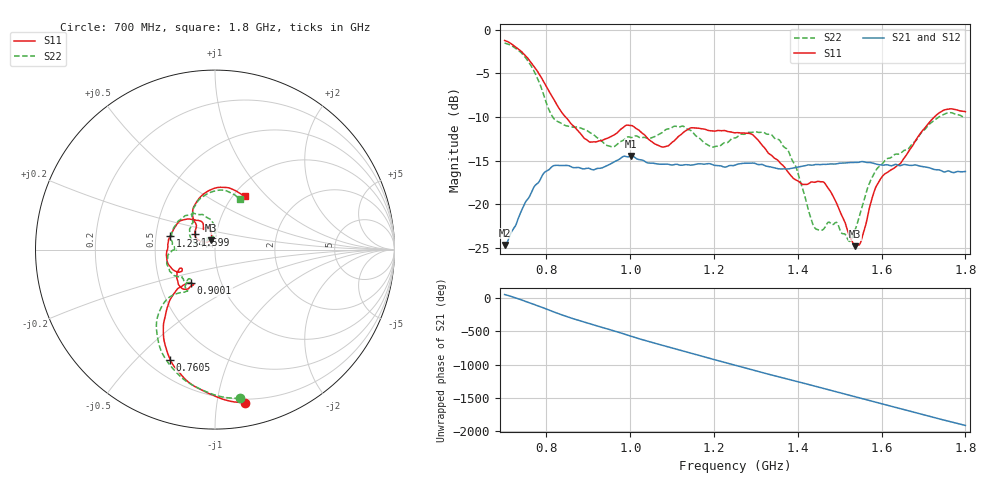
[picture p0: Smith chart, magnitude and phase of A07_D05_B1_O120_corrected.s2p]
! Created with skrf 1.9.0 (http://scikit-rf.org).
# Hz S RI R 50.0
!freq ReS11 ImS11 ReS21 ImS21 ReS12 ImS12 ReS22 ImS22
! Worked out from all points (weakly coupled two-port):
!   1601 points, 700 MHz to 1.8 GHz, reference 50 ohm
!   highest |S21| = -14.49 dB at 1.002 GHz (marker M1); lowest = -24.7 dB at 700 MHz (marker M2)
!   lowest |S11| = -24.8 dB at 1.537 GHz (marker M3), VSWR 1.12, Z = 47.3 + j4.9 ohm
!   |S11| at or under -10 dB: 845.6 MHz to 1.726 GHz (880.4 MHz wide, 68.5 % of centre)
!   |S22| runs from -24.3 to -1.5 dB; largest |S21 - S12| = 0.0036
!   S11 on the Smith chart (normalised r, x): 700 MHz: 0.17, -1.20; 760.5 MHz: 0.29, -0.63; 900.1 MHz: 0.72, -0.28; 1.234 GHz: 0.60, +0.10; 1.599 GHz: 0.79, +0.14; 1.8 GHz: 1.13, +0.76
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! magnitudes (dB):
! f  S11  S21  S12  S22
! 700 MHz  -1.2  -24.7  -24.5  -1.5
! 760.5 MHz  -3.6  -19.0  -18.9  -3.9
! 817.6 MHz  -8.0  -15.6  -15.7  -10.2
! 883.6 MHz  -12.0  -15.9  -15.8  -11.3
! 900.1 MHz  -12.8  -15.9  -15.9  -11.7
! 955.1 MHz  -12.2  -15.3  -15.3  -13.4
! 1.002 GHz  -11.0  -14.5  -14.6  -12.4
! 1.067 GHz  -13.3  -15.4  -15.4  -12.0
! 1.145 GHz  -11.2  -15.5  -15.5  -11.6
! 1.234 GHz  -11.7  -15.6  -15.7  -12.9
! 1.25 GHz  -11.8  -15.5  -15.5  -12.4
! 1.357 GHz  -15.2  -16.0  -15.9  -12.7
! 1.395 GHz  -17.2  -15.8  -15.8  -15.7
! 1.434 GHz  -17.5  -15.5  -15.5  -22.0
! 1.472 GHz  -18.2  -15.4  -15.4  -22.1
! 1.523 GHz  -23.6  -15.2  -15.2  -24.3
! 1.537 GHz  -24.8  -15.2  -15.2  -23.0
! 1.57 GHz  -20.5  -15.2  -15.2  -17.7
! 1.599 GHz  -17.0  -15.5  -15.5  -15.5
! 1.617 GHz  -16.2  -15.5  -15.5  -14.7
! 1.735 GHz  -9.6  -16.1  -16.1  -10.1
! 1.8 GHz  -9.4  -16.3  -16.2  -10.1
